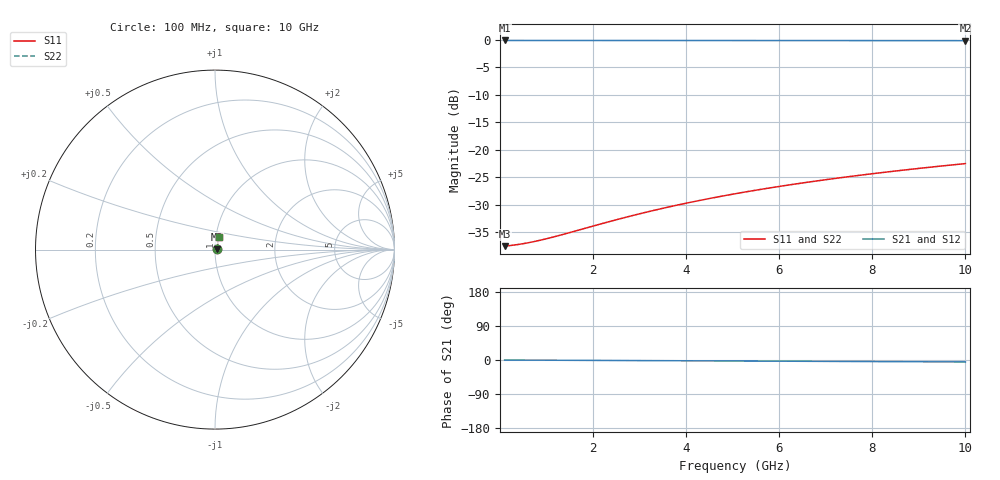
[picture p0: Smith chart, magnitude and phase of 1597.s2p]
# Hz S RI R 50.00
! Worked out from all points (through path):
!   100 points, 100 MHz to 10 GHz, reference 50 ohm
!   highest |S21| = -0.12 dB at 100 MHz (marker M1); lowest = -0.1 dB at 10 GHz (marker M2)
!   lowest |S11| = -37.6 dB at 100 MHz (marker M3), VSWR 1.03, Z = 51.3 + j0.0742 ohm
!   |S11| at or under -10 dB: start of sweep to end of sweep
!   |S22| runs from -37.6 to -22.5 dB; largest |S21 - S12| = 0
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1e8  0.0132 0.000722  0.9868 -0.00089  0.9868 -0.00089  0.0132 0.000722
3e8  0.0133 0.00217  0.9867 -0.00267  0.9867 -0.00267  0.0133 0.00217
5e8  0.0134 0.00361  0.9866 -0.00445  0.9866 -0.00445  0.0134 0.00361
8e8  0.0136 0.00577  0.9864 -0.00712  0.9864 -0.00712  0.0136 0.00577
1e9  0.0136 0.00722  0.9864 -0.0089  0.9864 -0.0089  0.0136 0.00722
1.2e9  0.0137 0.00866  0.9863 -0.0107  0.9863 -0.0107  0.0137 0.00866
1.8e9  0.0139 0.013  0.9861 -0.016  0.9861 -0.016  0.0139 0.013
2.2e9  0.0141 0.0159  0.9859 -0.0196  0.9859 -0.0196  0.0141 0.0159
2.6e9  0.0143 0.0187  0.9857 -0.0231  0.9857 -0.0231  0.0143 0.0187
3e9  0.0145 0.0216  0.9855 -0.0267  0.9855 -0.0267  0.0145 0.0216
3.4e9  0.0147 0.0245  0.9853 -0.0302  0.9853 -0.0302  0.0147 0.0245
3.8e9  0.0149 0.0274  0.9851 -0.0338  0.9851 -0.0338  0.0149 0.0274
4.2e9  0.0151 0.0302  0.9848 -0.0373  0.9848 -0.0373  0.0151 0.0302
4.6e9  0.0154 0.0331  0.9846 -0.0409  0.9846 -0.0409  0.0154 0.0331
5.1e9  0.0158 0.0367  0.9842 -0.0453  0.9842 -0.0453  0.0158 0.0367
5.5e9  0.0161 0.0396  0.9839 -0.0488  0.9839 -0.0488  0.0161 0.0396
5.9e9  0.0164 0.0424  0.9836 -0.0524  0.9836 -0.0524  0.0164 0.0424
6.7e9  0.0171 0.0482  0.9828 -0.0594  0.9828 -0.0594  0.0171 0.0482
7.5e9  0.0179 0.0539  0.982 -0.0665  0.982 -0.0665  0.0179 0.0539
8.4e9  0.0189 0.0603  0.981 -0.0744  0.981 -0.0744  0.0189 0.0603
9.2e9  0.0198 0.0659  0.9801 -0.0814  0.9801 -0.0814  0.0198 0.0659
1e10  0.0208 0.0716  0.979 -0.0884  0.979 -0.0884  0.0208 0.0716
